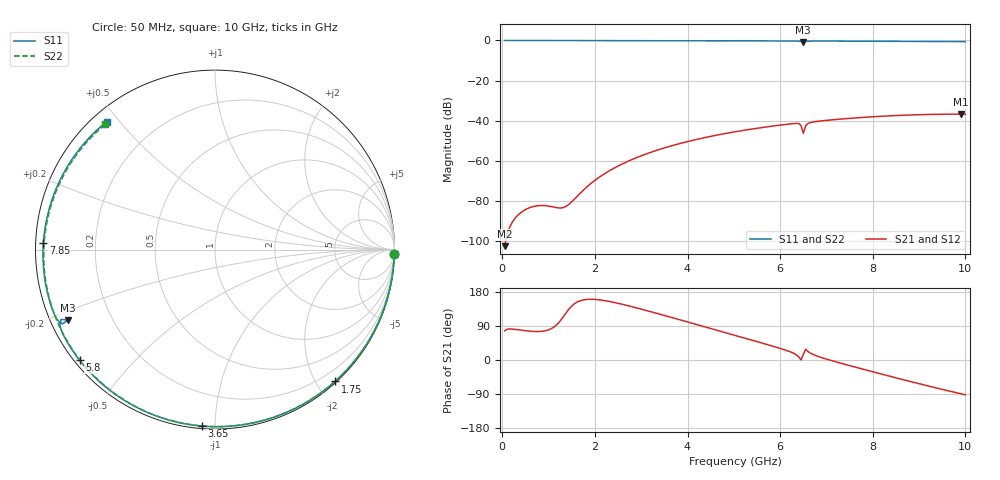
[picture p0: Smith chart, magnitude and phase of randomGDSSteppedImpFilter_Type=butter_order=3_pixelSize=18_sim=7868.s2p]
! freq	dB(S11)	phase(S11)	dB(S12)	phase(S12)
!  dB(S21)	phase(S21)	dB(S22)	phase(S22)
!S-par simulation data
#  GHz  S  DB  R 50
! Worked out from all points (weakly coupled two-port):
!   200 points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, 50 MHz to 10 GHz, reference 50 ohm
!   highest |S21| = -36.65 dB at 9.9 GHz (marker M1); lowest = -102.3 dB at 50 MHz (marker M2)
!   lowest |S11| = -0.8 dB at 6.5 GHz (marker M3), VSWR 21.14, Z = 2.49 - j11.3 ohm
!   |S11| at or under -10 dB: nowhere
!   |S22| runs from -0.7 to 0.0 dB; largest |S21 - S12| = 0
!   S11 on the Smith chart (normalised r, x): 50 MHz: 1, -84; 1.75 GHz: 0.02, -2.26; 3.65 GHz: 0.01, -0.93; 5.8 GHz: 0.01, -0.36; 7.85 GHz: 0.02, +0.02; 10 GHz: 0.04, +0.46
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0.05  -0.00 -1.4  -102.34 77.1  -102.34 77.1  -0.00 -1.2
0.75  -0.03 -20.8  -82.27 75.1  -82.27 75.1  -0.02 -19.1
1.5  -0.05 -41.1  -80.23 142.4  -80.23 142.4  -0.05 -37.9
1.75  -0.06 -47.7  -74.46 158.5  -74.46 158.5  -0.06 -44.0
2.05  -0.07 -55.5  -68.75 159.4  -68.75 159.4  -0.07 -51.3
2.45  -0.08 -65.6  -63.07 151.0  -63.07 151.0  -0.08 -60.8
2.9  -0.10 -76.7  -58.28 137.5  -58.28 137.5  -0.09 -71.3
3.4  -0.11 -88.6  -54.17 121.0  -54.17 121.0  -0.11 -82.7
3.65  -0.12 -94.3  -52.45 112.4  -52.45 112.4  -0.12 -88.2
4.35  -0.15 -110.0  -48.45 88.3  -48.45 88.3  -0.15 -103.5
5.05  -0.18 -125.1  -45.34 64.1  -45.34 64.1  -0.18 -118.3
5.8  -0.23 -140.7  -42.72 38.0  -42.72 38.0  -0.22 -133.9
6.4  -0.35 -154.1  -41.35 8.6  -41.35 8.6  -0.27 -146.3
6.45  -0.52 -155.6  -42.27 -0.1  -42.27 -0.1  -0.27 -147.4
6.5  -0.82 -154.4  -46.17 14.6  -46.17 14.6  -0.28 -148.4
6.55  -0.49 -154.0  -42.49 28.5  -42.49 28.5  -0.28 -149.4
6.7  -0.31 -158.1  -40.61 15.2  -40.61 15.2  -0.29 -152.5
7.85  -0.38 177.9  -38.18 -26.3  -38.18 -26.3  -0.40 -177.0
8.35  -0.43 167.4  -37.51 -42.3  -37.51 -42.3  -0.45 171.8
9.15  -0.51 150.0  -36.84 -67.1  -36.84 -67.1  -0.54 153.0
9.9  -0.58 132.7  -36.65 -89.1  -36.65 -89.1  -0.64 133.8
10  -0.59 130.3  -36.66 -91.8  -36.66 -91.8  -0.65 131.1
